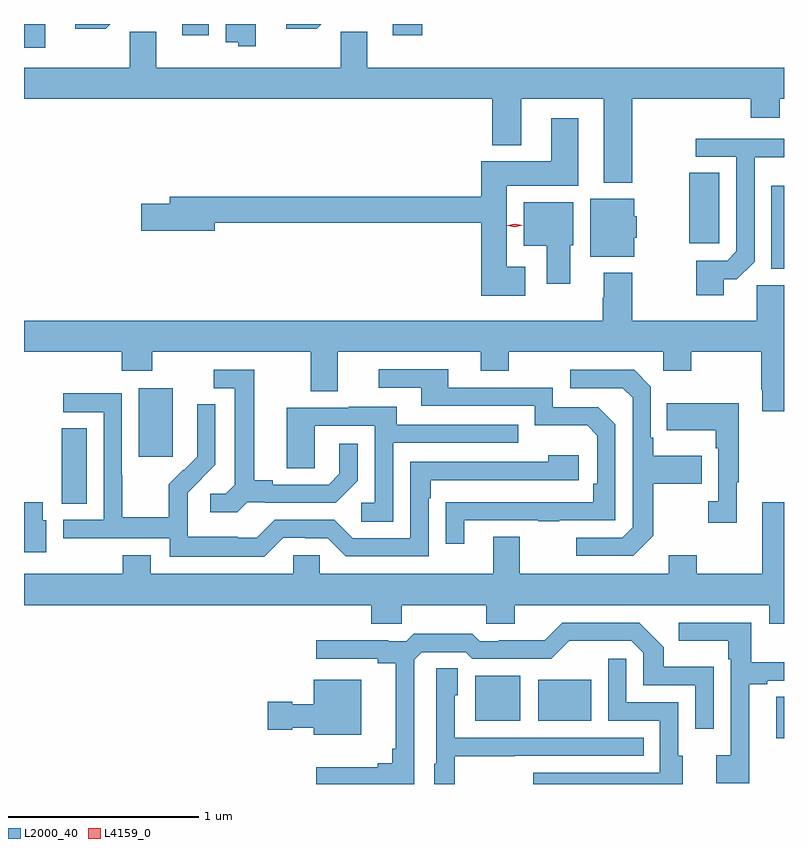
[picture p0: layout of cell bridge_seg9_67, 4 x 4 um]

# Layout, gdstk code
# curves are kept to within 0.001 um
import gdstk
lib = gdstk.Library(unit=1e-6, precision=1e-09)
def R(c, l, rs):  # rectangles x0, y0, x1, y1
    for r in rs: c.add(gdstk.rectangle(r[:2], r[2:], *l))
def P(c, l, *ps):  # polygons
    for p in ps: c.add(gdstk.Polygon(p, *l))
L2000_40 = (2000, 40)
L4159_0 = (4159, 0)

bridge_seg9_67 = lib.new_cell('bridge_seg9_67')
R(bridge_seg9_67, L2000_40, [(1047.575,1187.726,1047.617,1187.945), (1045.991,1187.819,1046.23,1188.055), (1046.324,1187.819,1046.602,1188.034), (1043.816,1188.961,1043.947,1189.358), (1044.221,1189.209,1044.4,1189.57), (1047.551,1190.197,1047.617,1190.635), (1047.119,1190.331,1047.277,1190.702), (1043.617,1191.36,1043.728,1191.486), (1044.449,1191.426,1044.589,1191.486), (1045.559,1191.426,1045.712,1191.486)])
P(bridge_seg9_67, L2000_40, [(1044.838,1191.486),(1044.68,1191.486),(1044.68,1191.389),(1044.744,1191.389),(1044.744,1191.368),(1044.838,1191.368)],
  [(1044.072,1191.486),(1043.886,1191.486),(1043.886,1191.461),(1044.047,1191.461)],
  [(1045.182,1191.486),(1044.996,1191.486),(1044.996,1191.461),(1045.157,1191.461)],
  [(1045.423,1191.446),(1045.284,1191.446),(1045.284,1191.256),(1044.313,1191.256),(1044.313,1191.446),(1044.174,1191.446),(1044.174,1191.256),(1043.617,1191.256),(1043.617,1191.092),(1046.081,1191.092),(1046.081,1190.849),(1046.233,1190.849),(1046.233,1191.092),(1046.669,1191.092),(1046.669,1190.651),(1046.817,1190.651),(1046.817,1191.092),(1047.443,1191.092),(1047.443,1190.993),(1047.595,1190.993),(1047.595,1191.092),(1047.617,1191.092),(1047.617,1191.256),(1045.423,1191.256)],
  [(1046.254,1190.209),(1046.158,1190.209),(1046.158,1190.636),(1046.533,1190.636),(1046.533,1190.989),(1046.393,1190.989),(1046.393,1190.764),(1046.024,1190.764),(1046.024,1190.576),(1044.383,1190.576),(1044.383,1190.54),(1044.234,1190.54),(1044.234,1190.398),(1044.622,1190.398),(1044.622,1190.44),(1046.024,1190.44),(1046.024,1190.057),(1046.254,1190.057)],
  [(1047.301,1190.143),(1047.369,1190.143),(1047.462,1190.235),(1047.462,1190.786),(1047.617,1190.786),(1047.617,1190.883),(1047.153,1190.883),(1047.153,1190.787),(1047.366,1190.787),(1047.366,1190.289),(1047.318,1190.241),(1047.154,1190.241),(1047.154,1190.058),(1047.301,1190.058)],
  [(1046.83,1190.361),(1046.842,1190.361),(1046.842,1190.475),(1046.83,1190.475),(1046.83,1190.566),(1046.597,1190.566),(1046.597,1190.261),(1046.83,1190.261)],
  [(1046.491,1190.322),(1046.509,1190.322),(1046.509,1190.548),(1046.246,1190.548),(1046.246,1190.318),(1046.369,1190.318),(1046.369,1190.118),(1046.491,1190.118)],
  [(1047.617,1190.112),(1047.474,1190.112),(1047.474,1189.924),(1046.817,1189.924),(1046.817,1190.176),(1046.669,1190.176),(1046.669,1190.045),(1046.662,1190.045),(1046.662,1189.924),(1043.617,1189.924),(1043.617,1189.76),(1044.131,1189.76),(1044.131,1189.661),(1044.291,1189.661),(1044.291,1189.76),(1045.127,1189.76),(1045.127,1189.552),(1045.267,1189.552),(1045.267,1189.76),(1046.021,1189.76),(1046.021,1189.661),(1046.169,1189.661),(1046.169,1189.76),(1046.982,1189.76),(1046.982,1189.661),(1047.129,1189.661),(1047.129,1189.76),(1047.496,1189.76),(1047.496,1189.561),(1047.503,1189.561),(1047.503,1189.449),(1047.617,1189.449)],
  [(1045.933,1188.873),(1046.323,1188.873),(1046.323,1188.868),(1046.435,1188.868),(1046.435,1188.873),(1046.73,1188.873),(1046.73,1189.38),(1046.64,1189.47),(1046.4,1189.47),(1046.4,1189.572),(1045.849,1189.572),(1045.849,1189.668),(1045.485,1189.668),(1045.485,1189.572),(1045.709,1189.572),(1045.709,1189.476),(1046.304,1189.476),(1046.304,1189.373),(1046.581,1189.373),(1046.634,1189.32),(1046.634,1189.066),(1046.614,1189.066),(1046.614,1188.969),(1045.837,1188.968),(1045.837,1188.75),(1045.933,1188.75)],
  [(1046.929,1188.793),(1046.929,1189.066),(1047.185,1189.066),(1047.185,1189.213),(1046.929,1189.213),(1046.929,1189.309),(1046.916,1189.309),(1046.916,1189.578),(1046.829,1189.665),(1046.493,1189.665),(1046.493,1189.569),(1046.769,1189.569),(1046.82,1189.518),(1046.82,1188.837),(1046.766,1188.783),(1046.523,1188.783),(1046.523,1188.687),(1046.823,1188.687)],
  [(1044.792,1188.969),(1044.886,1188.969),(1044.886,1188.966),(1045.258,1188.966),(1045.374,1189.082),(1045.374,1189.276),(1045.277,1189.276),(1045.277,1189.119),(1045.22,1189.062),(1044.925,1189.062),(1044.925,1189.085),(1044.829,1189.085),(1044.829,1189.665),(1044.615,1189.665),(1044.615,1189.569),(1044.725,1189.569),(1044.725,1189.061),(1044.678,1189.014),(1044.597,1189.014),(1044.597,1188.917),(1044.74,1188.917)],
  [(1044.981,1188.783),(1045.097,1188.783),(1045.097,1188.78),(1045.215,1188.78),(1045.311,1188.684),(1045.746,1188.684),(1045.746,1188.989),(1045.759,1188.989),(1045.759,1189.086),(1046.536,1189.086),(1046.536,1189.216),(1046.375,1189.216),(1046.375,1189.182),(1045.65,1189.182),(1045.65,1188.78),(1045.347,1188.78),(1045.251,1188.876),(1044.936,1188.876),(1044.843,1188.783),(1044.743,1188.783),(1044.743,1188.787),(1044.48,1188.787),(1044.48,1188.921),(1044.478,1188.921),(1044.478,1189.018),(1044.624,1189.166),(1044.624,1189.484),(1044.528,1189.484),(1044.528,1189.33),(1044.53,1189.33),(1044.53,1189.208),(1044.459,1189.137),(1044.456,1189.14),(1044.379,1189.063),(1044.379,1188.889),(1044.135,1188.889),(1044.135,1189.112),(1044.132,1189.112),(1044.132,1189.542),(1043.823,1189.542),(1043.823,1189.443),(1044.036,1189.443),(1044.036,1188.876),(1043.823,1188.876),(1043.823,1188.78),(1044.384,1188.78),(1044.384,1188.683),(1044.881,1188.683)],
  [(1047.367,1189.073),(1047.379,1189.073),(1047.379,1189.489),(1047.001,1189.489),(1047.001,1189.349),(1047.258,1189.349),(1047.258,1189.253),(1047.27,1189.253),(1047.27,1188.974),(1047.219,1188.974),(1047.219,1188.861),(1047.367,1188.861)],
  [(1045.56,1189.281),(1046.219,1189.281),(1046.219,1189.377),(1045.579,1189.377),(1045.579,1189.471),(1045.325,1189.471),(1045.325,1189.467),(1045.001,1189.467),(1045.001,1189.147),(1045.146,1189.147),(1045.146,1189.371),(1045.464,1189.371),(1045.464,1188.966),(1045.392,1188.966),(1045.392,1188.865),(1045.56,1188.865)],
  [(1043.734,1188.873),(1043.716,1188.873),(1043.716,1188.97),(1043.617,1188.97),(1043.617,1188.707),(1043.734,1188.707)],
  [(1046.2,1188.428),(1047.539,1188.428),(1047.539,1188.329),(1047.617,1188.329),(1047.617,1188.97),(1047.503,1188.97),(1047.503,1188.592),(1047.159,1188.592),(1047.159,1188.691),(1047.011,1188.691),(1047.011,1188.592),(1046.227,1188.592),(1046.227,1188.787),(1046.087,1188.787),(1046.087,1188.592),(1045.173,1188.592),(1045.173,1188.69),(1045.035,1188.69),(1045.035,1188.592),(1044.283,1188.592),(1044.283,1188.691),(1044.136,1188.691),(1044.136,1188.592),(1043.617,1188.592),(1043.617,1188.428),(1045.445,1188.428),(1045.445,1188.33),(1045.605,1188.33),(1045.605,1188.428),(1046.05,1188.428),(1046.05,1188.33),(1046.2,1188.33)],
  [(1045.671,1188.141),(1045.71,1188.18),(1045.941,1188.18),(1045.977,1188.144),(1046.391,1188.144),(1046.486,1188.239),(1046.814,1188.24),(1046.877,1188.177),(1046.877,1188.006),(1047.15,1188.006),(1047.15,1187.778),(1047.246,1187.778),(1047.246,1188.103),(1046.985,1188.103),(1046.985,1188.206),(1046.854,1188.336),(1046.451,1188.336),(1046.357,1188.242),(1046.116,1188.242),(1046.116,1188.237),(1046.016,1188.237),(1045.977,1188.277),(1045.669,1188.277),(1045.629,1188.237),(1045.535,1188.237),(1045.535,1188.242),(1045.155,1188.242),(1045.155,1188.144),(1045.478,1188.144),(1045.478,1188.122),(1045.574,1188.122),(1045.574,1187.671),(1045.555,1187.671),(1045.555,1187.594),(1045.478,1187.594),(1045.478,1187.575),(1045.155,1187.575),(1045.155,1187.486),(1045.671,1187.486)],
  [(1047.433,1188.012),(1047.529,1188.012),(1047.529,1188.03),(1047.617,1188.03),(1047.617,1188.128),(1047.445,1188.128),(1047.445,1188.336),(1047.063,1188.336),(1047.063,1188.239),(1047.324,1188.239),(1047.324,1188.143),(1047.336,1188.143),(1047.336,1187.638),(1047.261,1187.638),(1047.261,1187.49),(1047.433,1187.49)],
  [(1047.085,1187.634),(1047.06,1187.634),(1047.06,1187.916),(1046.787,1187.916),(1046.787,1188.145),(1046.691,1188.145),(1046.691,1187.82),(1046.964,1187.82),(1046.964,1187.544),(1046.297,1187.544),(1046.297,1187.486),(1047.085,1187.486)],
  [(1045.884,1187.633),(1046.201,1187.633),(1046.201,1187.634),(1046.879,1187.634),(1046.879,1187.73),(1045.884,1187.73),(1045.884,1187.952),(1045.9,1187.952),(1045.9,1188.095),(1045.788,1188.095),(1045.788,1187.592),(1045.775,1187.592),(1045.775,1187.486),(1045.884,1187.486)],
  [(1045.393,1188.034),(1045.142,1188.034),(1045.142,1187.905),(1045.029,1187.905),(1045.029,1187.918),(1044.9,1187.918),(1044.9,1187.771),(1045.029,1187.771),(1045.029,1187.783),(1045.142,1187.783),(1045.142,1187.744),(1045.393,1187.744)])
P(bridge_seg9_67, L4159_0, [(1046.201,1190.416),(1046.162,1190.425),(1046.161,1190.425),(1046.162,1190.426),(1046.201,1190.436),(1046.241,1190.426),(1046.241,1190.426),(1046.241,1190.426)])

lib.write_gds('bridge_seg9_67.gds')
